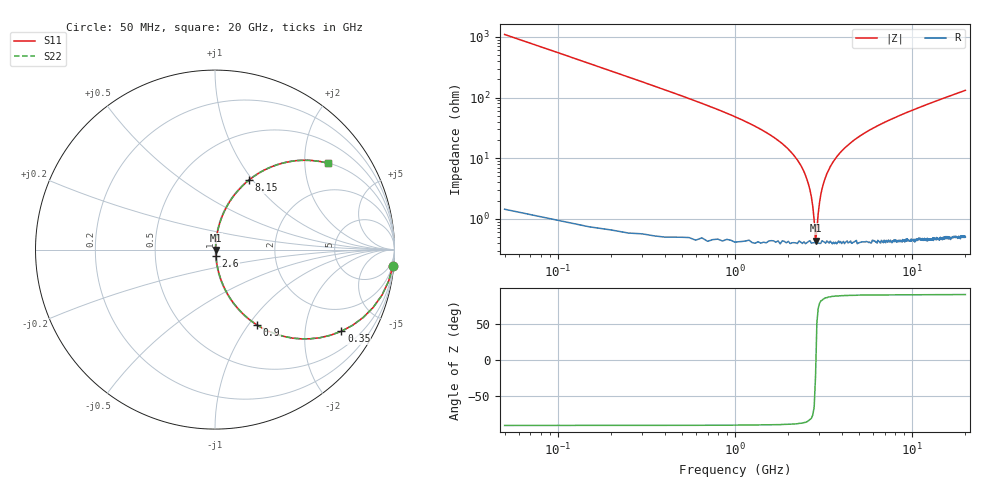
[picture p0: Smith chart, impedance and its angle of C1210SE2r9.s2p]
! AVX Thin Film Operation		Date: April 2012
! Description: Accu-P® Series, Thin Film, SMD, RF Capacitor
! Part Number: 12101J2R9QBTTR
!	100	MHz	-	20.05	GHz
!	Serial	Measurements
#	MHZ	S	MA	R	50
!	S11	S21	S12	S22
!	dB	Phase	dB	Phase	dB	Phase	dB	Phase
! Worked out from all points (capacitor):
!   400 points, 50 MHz to 20 GHz, reference 50 ohm
!   read as one part in series: C = 2.9 pF near 150 MHz
!   lowest |Z| = 438 mohm at 2.85 GHz (marker M1)
!   series resonance near 2.862 GHz, so ESL is about 1.1 nH
!   S11 on the Smith chart (normalised r, x): 50 MHz: 1, -22; 350 MHz: 1.01, -3.09; 900 MHz: 1.01, -1.10; 2.6 GHz: 1.01, -0.07; 8.15 GHz: 1.01, +0.96; 20 GHz: 1.01, +2.62
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50  0.996 -5.2  0.091 84.7  0.091 84.7  0.996 -5.2
100  0.983 -10.3  0.179 79.6  0.179 79.6  0.983 -10.3
150  0.964 -15.3  0.264 74.6  0.264 74.6  0.964 -15.3
350  0.838 -32.9  0.543 56.9  0.543 56.9  0.838 -32.9
600  0.657 -48.7  0.751 41.0  0.751 41.0  0.657 -48.7
900  0.48 -60.9  0.873 28.7  0.873 28.7  0.48 -60.9
2050  0.129 -80.8  0.988 7.4  0.988 7.4  0.129 -80.8
2400  0.068 -82.7  0.994 3.9  0.994 3.9  0.068 -82.7
2600  0.037 -81.6  0.995 2.1  0.995 2.1  0.037 -81.6
2750  0.016 -74.2  0.996 0.9  0.996 0.9  0.016 -74.2
2850  0.004402 -22.0  0.996 0.1  0.996 0.1  0.004402 -22.0
2950  0.012 69.8  0.996 -0.7  0.996 -0.7  0.012 69.8
3050  0.025 79.1  0.996 -1.4  0.996 -1.4  0.025 79.1
3400  0.066 82.7  0.994 -3.8  0.994 -3.8  0.066 82.7
3800  0.109 81.6  0.99 -6.3  0.99 -6.3  0.109 81.6
4450  0.172 78.8  0.981 -9.9  0.981 -9.9  0.172 78.8
6700  0.343 69.3  0.935 -20.1  0.935 -20.1  0.343 69.3
8150  0.43 64.0  0.899 -25.5  0.899 -25.5  0.43 64.0
10050  0.524 58.0  0.848 -31.6  0.848 -31.6  0.524 58.0
13350  0.647 49.4  0.759 -40.3  0.759 -40.3  0.647 49.4
16700  0.734 42.5  0.676 -47.2  0.676 -47.2  0.734 42.5
20000  0.794 37.2  0.605 -52.5  0.605 -52.5  0.794 37.2
